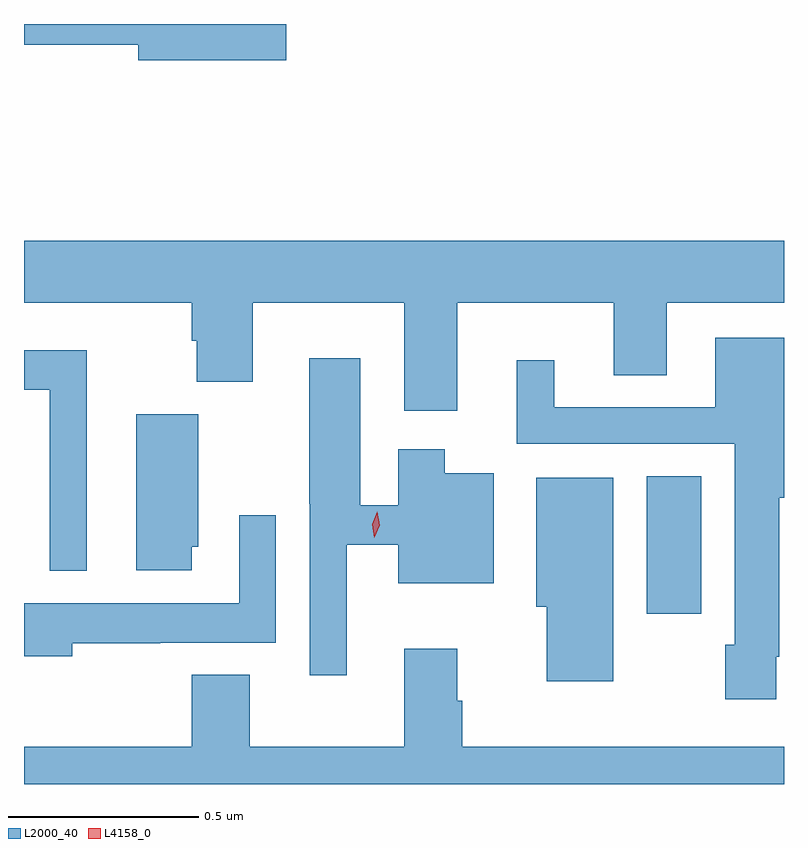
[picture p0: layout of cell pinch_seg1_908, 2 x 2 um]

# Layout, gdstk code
import gdstk
lib = gdstk.Library(unit=1e-6, precision=1e-09)
def R(c, l, rs):  # rectangles x0, y0, x1, y1
    for r in rs: c.add(gdstk.rectangle(r[:2], r[2:], *l))
def P(c, l, *ps):  # polygons
    for p in ps: c.add(gdstk.Polygon(p, *l))
L2000_40 = (2000, 40)
L4158_0 = (4158, 0)

pinch_seg1_908 = lib.new_cell('pinch_seg1_908')
R(pinch_seg1_908, L2000_40, [(526.766,534.93,526.909,535.292)])
P(pinch_seg1_908, L2000_40, [(525.817,536.482),(525.127,536.482),(525.127,536.428),(525.428,536.428),(525.428,536.386),(525.817,536.386)],
  [(526.267,535.748),(526.679,535.748),(526.679,535.558),(526.819,535.558),(526.819,535.748),(527.127,535.748),(527.127,535.912),(525.127,535.912),(525.127,535.748),(525.569,535.748),(525.569,535.649),(525.581,535.649),(525.581,535.54),(525.729,535.54),(525.729,535.748),(526.127,535.748),(526.127,535.464),(526.267,535.464)],
  [(527.107,534.817),(527.114,534.817),(527.114,535.235),(527.127,535.235),(527.127,535.657),(526.946,535.657),(526.946,535.473),(526.522,535.473),(526.522,535.597),(526.424,535.597),(526.424,535.377),(526.998,535.377),(526.998,534.849),(526.972,534.849),(526.972,534.705),(527.107,534.705)],
  [(525.292,535.624),(525.127,535.624),(525.127,535.52),(525.195,535.52),(525.195,535.043),(525.292,535.043)],
  [(525.976,535.111),(526.112,535.111),(526.112,535.01),(526.363,535.01),(526.363,535.3),(526.234,535.3),(526.234,535.363),(526.112,535.363),(526.112,535.215),(526.012,535.215),(526.012,535.603),(525.878,535.603),(525.878,535.219),(525.879,535.219),(525.879,534.768),(525.976,534.768)],
  [(525.568,535.107),(525.586,535.107),(525.586,535.455),(525.422,535.455),(525.422,535.044),(525.568,535.044)],
  [(526.678,535.288),(526.475,535.288),(526.475,534.948),(526.502,534.948),(526.502,534.752),(526.678,534.752)],
  [(525.254,534.852),(525.485,534.852),(525.485,534.854),(525.789,534.854),(525.789,535.189),(525.693,535.189),(525.693,534.958),(525.127,534.958),(525.127,534.818),(525.254,534.818)],
  [(527.127,534.58),(526.28,534.58),(526.28,534.701),(526.267,534.701),(526.267,534.838),(526.127,534.838),(526.127,534.58),(525.721,534.58),(525.721,534.769),(525.569,534.769),(525.569,534.58),(525.127,534.58),(525.127,534.482),(527.127,534.482)])
P(pinch_seg1_908, L4158_0, [(526.049,535.13),(526.049,535.13),(526.043,535.165),(526.057,535.198),(526.057,535.198),(526.057,535.198),(526.063,535.163),(526.049,535.13)])

lib.write_gds('pinch_seg1_908.gds')
